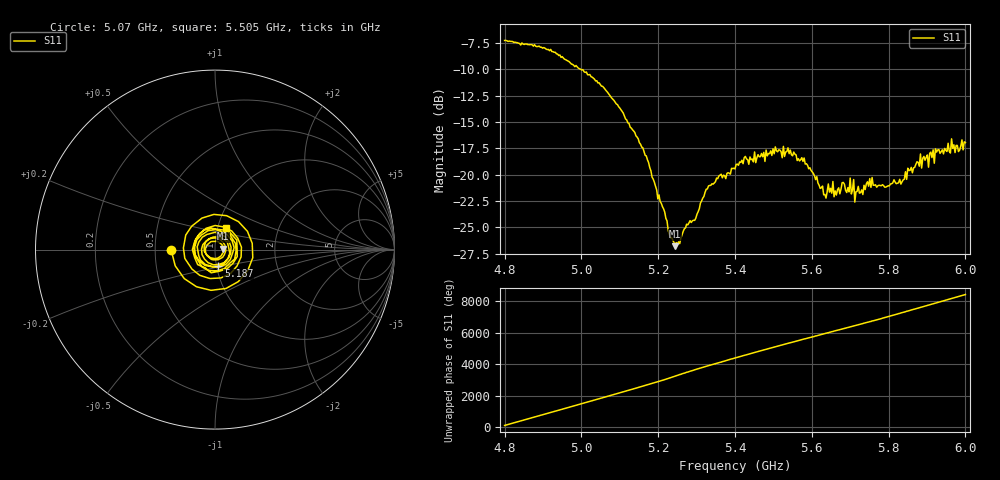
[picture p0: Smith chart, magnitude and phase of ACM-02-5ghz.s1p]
! NanoVNA-App
! Date: 2026-05-22 19:49:48
! Start: 4.8GHz Stop: 6GHz Points: 401
! S-Parameter data: F S11
# Hz S RI R 50
!  Frequency  S11_Real  S11_Imag
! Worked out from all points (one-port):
!   401 points, 4.8 GHz to 6 GHz, reference 50 ohm
!   lowest |S11| = -26.8 dB at 5.244 GHz (marker M1), VSWR 1.10, Z = 54.8 + j0.501 ohm
!   |S11| at or under -10 dB: 4.999 GHz to end of sweep
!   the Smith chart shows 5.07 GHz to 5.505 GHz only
!   S11 on the Smith chart (normalised r, x): 5.07 GHz: 0.61, -0.01; 5.187 GHz: 1.02, -0.19; 5.505 GHz: 1.10, +0.27
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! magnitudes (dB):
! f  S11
! 4.8 GHz  -7.2
! 4.95 GHz  -8.8
! 5.07 GHz  -12.3
! 5.1 GHz  -13.7
! 5.154 GHz  -17.1
! 5.187 GHz  -20.4
! 5.232 GHz  -26.0
! 5.244 GHz  -26.8
! 5.25 GHz  -26.7
! 5.274 GHz  -24.7
! 5.298 GHz  -24.1
! 5.328 GHz  -21.4
! 5.4 GHz  -19.4
! 5.505 GHz  -17.4
! 5.55 GHz  -18.2
! 5.58 GHz  -18.4
! 5.634 GHz  -21.9
! 5.649 GHz  -21.3
! 5.664 GHz  -21.9
! 5.682 GHz  -20.7
! 5.7 GHz  -20.3
! 5.718 GHz  -21.6
! 5.751 GHz  -20.4
! 5.796 GHz  -21.1
! 5.835 GHz  -20.7
! 5.85 GHz  -19.4
! 5.928 GHz  -17.6
! 6 GHz  -16.9
